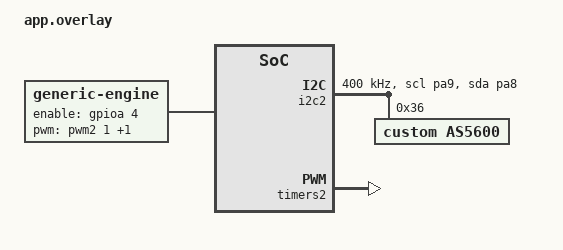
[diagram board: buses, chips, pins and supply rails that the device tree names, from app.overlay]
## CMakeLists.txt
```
cmake_minimum_required(VERSION 3.20.0)

# Cria variável que guarda o caminho para os drivers personalizados relativo ao diretório atual
set(CUSTOM_DRIVERS_DIR "${CMAKE_CURRENT_LIST_DIR}/custom_drivers")

list(APPEND ZEPHYR_EXTRA_MODULES "${CUSTOM_DRIVERS_DIR}")

find_package(Zephyr REQUIRED HINTS $ENV{ZEPHYR_BASE})
project(hello_word_AS5300)

target_sources(app PRIVATE src/main.c)
target_include_directories(app PRIVATE "${CUSTOM_DRIVERS_DIR}/drivers/sensor/as5600" src/engine-driver)

add_subdirectory(src/kalman-filter-c)
target_link_libraries(app PRIVATE kalman)

add_subdirectory(src/engine-driver)
target_link_libraries(app PRIVATE engine_driver)
```

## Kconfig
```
# Kconfig
mainmenu "AS5600 Encoder and Engine Control"

config ENGINE_THREAD_SAFE
	bool "Enable Thread-Safe Mode for Engine Driver"
	default n
	help
	  Protects the engine driver speed update functions using a mutex.

source "Kconfig.zephyr"
```

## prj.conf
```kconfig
# SPDX-License-Identifier: Apache-2.0

CONFIG_I2C=y
CONFIG_SENSOR=y
CONFIG_AS5600=y
CONFIG_AS5600_THREAD_SAFE=n

# PWM and Engine Configuration
CONFIG_PWM=y
CONFIG_ENGINE_THREAD_SAFE=y
```

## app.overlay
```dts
/*
 * Copyright (c) 2026
 * SPDX-License-Identifier: Apache-2.0
 */

/ {
	aliases {
		as5600 = &as5600;
	};

	engine: engine {
		compatible = "generic-engine";
		pwms = <&pwm2 1 50000 PWM_POLARITY_NORMAL>, /* RPWM (TIM2 CH1) on PA0 */
		       <&pwm2 2 50000 PWM_POLARITY_NORMAL>; /* LPWM (TIM2 CH2) on PA1 */
		enable-gpios = <&gpioa 4 GPIO_ACTIVE_HIGH>;  /* Enable (R_EN/L_EN) on PA4 */
		status = "okay";
	};
};


&i2c1 {
	status = "disabled";
};

&i2c2 {
	status = "okay";
	pinctrl-0 = <&i2c2_scl_pa9 &i2c2_sda_pa8>; /* SCL no PA9, SDA no PA8 */
	pinctrl-names = "default";
	clock-frequency = <400000>;

	as5600: as5600@36 {
		compatible = "custom,as5600";
		reg = <0x36>;				/* Endereço padrão de fábrica do sensor AS5600 */
		hysteresis = <0>;           /* 0 LSB (Sem histerese para dados brutos mais precisos) */
		slow-filter = <2>;          /* 2x slow filter */
		fast-filter-threshold = <2>; /* 2 LSB fast filter threshold */
	};	
};

&timers2 {
	status = "okay";
	pwm2: pwm {
		status = "okay";
		pinctrl-0 = <&tim2_ch1_pa0 &tim2_ch2_pa1>; /* PA0 (RPWM) & PA1 (LPWM) */
		pinctrl-names = "default";
	};
};
```

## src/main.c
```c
/*
 * Copyright (c) 2026
 * SPDX-License-Identifier: Apache-2.0
 */

#include "as5600.h"
#include "engine_driver.h"
#include "kalman.h"
#include <stdio.h>
#include <zephyr/device.h>
#include <zephyr/drivers/sensor.h>
#include <zephyr/kernel.h>

/* Update the specialized 2D Kalman Filter for rotary/angular sensor (with
 * wrap-around) */
static __attribute__((unused)) void
engine_angle_kalman_2d_update(struct kalman_2d *k, float measured_angle,
                              float dt) {
  /* --- 1. PREDICT STEP --- */
  /* x_pred = F * x */
  float x_pred_theta = k->x[0] + k->x[1] * dt;
  float x_pred_omega = k->x[1];

  /* P_pred = F * P * F^T + Q */
  float P_pred_00 = k->P[0][0] +
                    dt * (k->P[1][0] + k->P[0][1] + dt * k->P[1][1]) +
                    k->Q_theta;
  float P_pred_01 = k->P[0][1] + dt * k->P[1][1];
  float P_pred_10 = k->P[1][0] + dt * k->P[1][1];
  float P_pred_11 = k->P[1][1] + k->Q_omega;

  /* --- 2. UPDATE / CORRECT STEP --- */
  /* Innovation (measurement error) */
  float y = measured_angle - x_pred_theta;

  /* Normalize y to [-180, 180] degrees to handle wrap-around from 360 to 0 */
  while (y > 180.0f) {
    y -= 360.0f;
  }
  while (y < -180.0f) {
    y += 360.0f;
  }

  /* Innovation Covariance: S = H * P_pred * H^T + R */
  float S = P_pred_00 + k->R;

  /* Kalman Gain: K = P_pred * H^T * S^-1 */
  float K_0 = P_pred_00 / S;
  float K_1 = P_pred_10 / S;

  /* Correct State: x = x_pred + K * y */
  k->x[0] = x_pred_theta + K_0 * y;
  k->x[1] = x_pred_omega + K_1 * y;

  /* Keep estimated angle within [0, 360) range */
  while (k->x[0] >= 360.0f) {
    k->x[0] -= 360.0f;
  }
  while (k->x[0] < 0.0f) {
    k->x[0] += 360.0f;
  }

  /* Correct Covariance: P = (I - K * H) * P_pred */
  k->P[0][0] = (1.0f - K_0) * P_pred_00;
  k->P[0][1] = (1.0f - K_0) * P_pred_01;
  k->P[1][0] = P_pred_10 - K_1 * P_pred_00;
  k->P[1][1] = P_pred_11 - K_1 * P_pred_01;
}

static void engine_angle_kalman_3d_update(struct kalman_3d *k,
                                          float measured_angle, float dt) {
  /* --- 1. PREDICT STEP --- */
  float h = 0.5f * dt * dt;

  /* x_pred = F * x */
  float x_pred_theta = k->x[0] + k->x[1] * dt + k->x[2] * h;
  float x_pred_omega = k->x[1] + k->x[2] * dt;
  float x_pred_alpha = k->x[2];

  /* P_pred = F * P * F^T + Q */
  /* Row lines of F * P */
  float a0 = k->P[0][0] + dt * k->P[1][0] + h * k->P[2][0];
  float a1 = k->P[0][1] + dt * k->P[1][1] + h * k->P[2][1];
  float a2 = k->P[0][2] + dt * k->P[1][2] + h * k->P[2][2];

  float a4 = k->P[1][1] + dt * k->P[2][1];
  float a5 = k->P[1][2] + dt * k->P[2][2];

  /* (F * P) * F^T + Q components */
  float P_pred_00 = a0 + dt * a1 + h * a2 + k->Q_theta;
  float P_pred_01 = a1 + dt * a2;
  float P_pred_02 = a2;

  float P_pred_10 = P_pred_01;
  float P_pred_11 = a4 + dt * a5 + k->Q_omega;
  float P_pred_12 = a5;

  float P_pred_20 = P_pred_02;
  float P_pred_22 = k->P[2][2] + k->Q_alpha;

  /* --- 2. UPDATE / CORRECT STEP --- */
  /* Innovation (measurement error) */
  float y = measured_angle - x_pred_theta;

  /* Normalize y to [-180, 180] degrees to handle wrap-around from 360 to 0 */
  while (y > 180.0f) {
    y -= 360.0f;
  }
  while (y < -180.0f) {
    y += 360.0f;
  }

  /* Innovation Covariance: S = H * P_pred * H^T + R */
  float S = P_pred_00 + k->R;

  /* Kalman Gain: K = P_pred * H^T * S^-1 */
  float K_0 = P_pred_00 / S;
  float K_1 = P_pred_10 / S;
  float K_2 = P_pred_20 / S;

  /* Correct State: x = x_pred + K * y */
  k->x[0] = x_pred_theta + K_0 * y;
  k->x[1] = x_pred_omega + K_1 * y;
  k->x[2] = x_pred_alpha + K_2 * y;

  /* Keep estimated angle within [0, 360) range */
  while (k->x[0] >= 360.0f) {
    k->x[0] -= 360.0f;
  }
  while (k->x[0] < 0.0f) {
    k->x[0] += 360.0f;
  }

  /* Correct Covariance: P = (I - K * H) * caP_pred */
  k->P[0][0] = (1.0f - K_0) * P_pred_00;
  k->P[0][1] = (1.0f - K_0) * P_pred_01;
  k->P[0][2] = (1.0f - K_0) * P_pred_02;

  k->P[1][0] = k->P[0][1];
  k->P[1][1] = P_pred_11 - K_1 * P_pred_01;
  k->P[1][2] = P_pred_12 - K_1 * P_pred_02;

  k->P[2][0] = k->P[0][2];
  k->P[2][1] = k->P[1][2];
  k->P[2][2] = P_pred_22 - K_2 * P_pred_02;
}

/* Helper function to print a float by splitting it into integer and fraction (3
 * decimal places). It receives a format string which must accept two integer
 * arguments (e.g. "%d.%03d").
 */
static void printf_f(const char *format, float value) {
  /* Handle values between -1.0 and 0.0 to avoid losing the negative sign */
  if (value < 0.0f && value > -1.0f) {
    printf("-");
  }
  int32_t integer = (int32_t)value;
  int32_t fraction = (int32_t)((value - integer) * 1000.0f);
  if (fraction < 0) {
    fraction = -fraction;
  }
  printf(format, integer, fraction);
}

/**
 * @brief Obtém o ângulo bruto do sensor AS5600 em graus. Fmax = 6,06 kHz.$
 *
 * Realiza a leitura física (fetch) do registrador RAW ANGLE do codificador via
 * I2C e converte o resultado de estrutura "sensor_value" (val1 + val2/1e6) para
 * float.
 *
 * @param[in]  dev     Ponteiro para a estrutura de dispositivo (device) do
 * sensor AS5600.
 * @param[out] raw_deg Ponteiro para a variável float onde o ângulo lido (0.0 a
 * 359.999 graus) será gravado.
 *
 * @return 0 em caso de sucesso.
 * @return Código de erro negativo (ex: -EIO se falhar a comunicação I2C) em
 * caso de erro.
 */
static int get_engine_angle(const struct device *dev, float *raw_deg) {
  struct sensor_value angle_raw;

  /* Fetch only the raw rotation channel at high speed */
  int ret = sensor_sample_fetch_chan(
      dev, (enum sensor_channel)SENSOR_CHAN_RAW_ROTATION);
  if (ret >= 0) {
    sensor_channel_get(dev, (enum sensor_channel)SENSOR_CHAN_RAW_ROTATION,
                       &angle_raw);

    /* Convert degrees and micro-degrees to degrees (e.g. 180.500 deg) */
    *raw_deg = (float)angle_raw.val1 + ((float)angle_raw.val2 / 1e6f);
  }

  return ret;
}

/*
 * Configuração estática do driver do motor (engine):
 * Esses dados são definidos em app.overlay e engine_driver.dts e são
 * passados para a estrutura engine_config através de macros Zephyr.
 *
 * - pwm: Obtém a especificação do PWM (TIM2 CH1 no pino PA0) diretamente do
 *   nó 'engine' definido no Devicetree (app.overlay). O período padrão é 50us
 * (20 kHz).
 *
 * - dir_l_plus: Obtém a especificação da GPIO do pino L+ de controle de direção
 *   (pino PA1) definida no Devicetree.
 *
 * - dir_l_minus: Obtém a especificação da GPIO do pino L- de controle de
 * direção (pino PA4) definida no Devicetree.
 */
static struct engine_config engine = {
    .pwm_fwd = PWM_DT_SPEC_GET_BY_IDX(DT_NODELABEL(engine), 0),
    .pwm_rev = PWM_DT_SPEC_GET_BY_IDX(DT_NODELABEL(engine), 1),
    .enable = GPIO_DT_SPEC_GET_OR(DT_NODELABEL(engine), enable_gpios, {0}),
};

int main(void) {
  const struct device *const dev = DEVICE_DT_GET_ANY(custom_as5600);

  printf("AS5600 Magnetic Encoder Demonstration - High Speed Raw Sampling & 3D "
         "Kalman Filter\n");

  if (dev == NULL) {
    printf("Error: No AS5600 device found in devicetree\n");
    return 0;
  }

  if (!device_is_ready(dev)) {
    printf("Error: Device %s is not ready\n", dev->name);
    return 0;
  }

  printf("AS5600 device %s is ready\n", dev->name);

  // Initialize Engine Driver
  printf("Initializing Engine Driver...\n");
  int ret_engine = engine_driver_init(&engine);
  if (ret_engine < 0) {
    printf("Error: Failed to initialize engine driver (%d)\n", ret_engine);
    return 0;
  }
  printf("Engine Driver initialized successfully!\n");

  // Spin engine at fixed 50% speed for testing
  printf("Setting engine speed to 50.0%%\n");
  engine_driver_set_speed(&engine, 30.0f);

  float raw_deg = 0.0f;
  struct kalman_3d filter;

  /*
   * Configuração customizada para o Filtro de Kalman 3D:
   *
   * - q_theta (Covariância do ruído do processo para posição/ângulo):
   *   Valores menores fazem o filtro confiar mais no modelo físico (mais suave,
   * mas com maior atraso/lag). Valores maiores fazem o filtro confiar mais nas
   * medições (mais responsivo, mas com mais ruído/jitter). Valor padrão:
   * 0.001f.
   *
   * - q_omega (Covariância do ruído do processo para velocidade angular):
   *   Determina quão rápido o filtro reage a mudanças na velocidade angular.
   *   Valores maiores permitem adaptação mais rápida a
   * acelerações/desacelerações repentinas. Valor padrão: 10.0f.
   *
   * - q_alpha (Covariância do ruído do processo para aceleração angular):
   *   Determina a velocidade com que o filtro rastreia mudanças na aceleração.
   *   Valor padrão: 100.0f.
   *
   * - r (Covariância do ruído de medição):
   *   Representa o nível de ruído/variância nas leituras brutas do sensor
   * AS5600. Um valor maior indica que o sensor é mais ruidoso, fazendo o filtro
   * suavizar mais os dados. Valor padrão: 0.018f.
   *
   * Guia de Ajuste (Tuning):
   * 1. Se o ângulo filtrado apresentar atraso (lag) durante a rotação física,
   * aumente q_theta, q_omega e q_alpha.
   * 2. Se o ângulo filtrado oscilar muito (ruído/jitter) quando o sensor
   * estiver parado ou em movimento lento, diminua q_theta/q_omega ou aumente r.
   */
  kalman_3d_config_t filter_cfg = {
      .q_theta = 0.001f,
      .q_omega = 10.0f,
      .q_alpha = 100.0f,
      .r = 0.018f,
  };

  /* Perform a first read to initialize the Kalman Filter with the correct
   * initial angle */
  if (get_engine_angle(dev, &raw_deg) >= 0) {
    kalman_3d_init(&filter, raw_deg, &filter_cfg);
  } else {
    kalman_3d_init(&filter, 0.0f, &filter_cfg);
  }

  uint32_t loop_count = 0;

  while (1) {
    /* Fetch and update at 1 kHz */
    if (get_engine_angle(dev, &raw_deg) >= 0) {

      /* Update filter with dt = 0.001s (1 ms loop) */
      engine_angle_kalman_3d_update(&filter, raw_deg, 0.001f);
    }

    /* Read and print status every 2 seconds (2000 loops at 1 ms delay) */
    if (loop_count % 2000 == 0) {
      struct sensor_value status_val;
      int ret = sensor_sample_fetch_chan(
          dev, (enum sensor_channel)SENSOR_CHAN_STATUS);
      if (ret >= 0) {
        sensor_channel_get(dev, (enum sensor_channel)SENSOR_CHAN_STATUS,
                           &status_val);
        uint8_t status = (uint8_t)status_val.val1;

        bool md = (status & AS5600_STATUS_MD) != 0;
        bool ml = (status & AS5600_STATUS_ML) != 0;
        bool mh = (status & AS5600_STATUS_MH) != 0;

        printf("[AS5600 Status] Byte: 0x%02X | Magnet: %s | Strength: %s\n",
               status, md ? "DETECTED" : "NOT DETECTED",
               ml ? "TOO WEAK" : (mh ? "TOO STRONG" : "OK"));
      } else {
        printf("[AS5600 Status] Error reading status: %d\n", ret);
      }
    }

    /*
     * Print values every 200 ms (200 loops at 1 ms delay)
     * to prevent flooding the serial port console.
     */
    if (loop_count % 200 == 0) {
      float est_angle = filter.x[0];
      float est_speed_dps = filter.x[1];
      float est_speed_rpm = est_speed_dps / 6.0f; /* dps to RPM */
      float est_accel_dps2 = filter.x[2];
      float est_accel_rpm_s = est_accel_dps2 / 6.0f; /* dps/s^2 to RPM/s */

      printf("Raw Angle: ");
      printf_f("%d.%03d", raw_deg);
      printf(" deg | Kalman Angle: ");
      printf_f("%d.%03d", est_angle);
      printf(" deg | Speed: ");
      printf_f("%d.%03d", est_speed_rpm);
      printf(" RPM | Accel: ");
      printf_f("%d.%03d", est_accel_rpm_s);
      printf(" RPM/s\n");
    }

    loop_count++;
    k_msleep(1); /* 1 ms delay -> 1 kHz sampling rate */
  }

  return 0;
}
```
